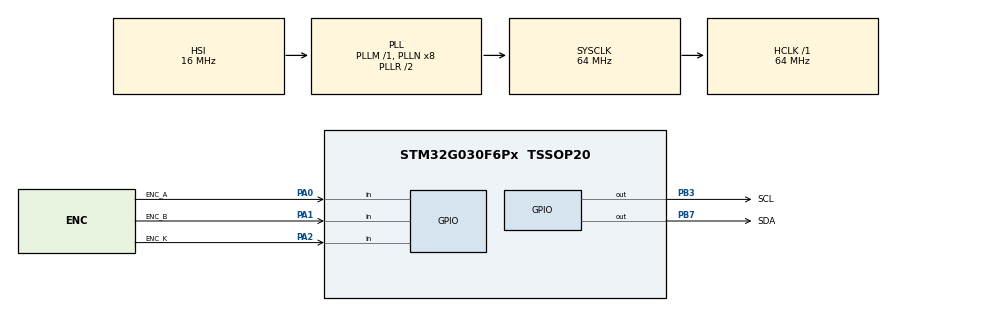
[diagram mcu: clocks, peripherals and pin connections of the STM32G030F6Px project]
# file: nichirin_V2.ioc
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Mcu.Family=STM32G0
Mcu.Name=STM32G030F6Px
Mcu.Package=TSSOP20
PA0.GPIO_Label=ENC_A
PA0.GPIO_Mode=GPIO_MODE_INPUT
PA0.GPIO_PuPd=GPIO_PULLUP
PA0.Signal=GPIO_Input
PA1.GPIO_Label=ENC_B
PA1.GPIO_Mode=GPIO_MODE_INPUT
PA1.GPIO_PuPd=GPIO_PULLUP
PA1.Signal=GPIO_Input
PA13.Mode=Serial_Wire
PA13.Signal=SYS_SWDIO
PA14-BOOT0.Mode=Serial_Wire
PA14-BOOT0.Signal=SYS_SWCLK
PA14-BOOT0__PA15.StandardMode=true
PA2.GPIO_Label=ENC_K
PA2.GPIO_Mode=GPIO_MODE_INPUT
PA2.GPIO_PuPd=GPIO_PULLUP
PA2.Signal=GPIO_Input
PB0__PB1__PB2__PA8.StandardMode=true
PB3.GPIO_Label=SCL
PB3.GPIO_ModeDefaultOutputPP=GPIO_MODE_OUTPUT_OD
PB3.GPIO_PuPd=GPIO_NOPULL
PB3.GPIO_Speed=GPIO_SPEED_FREQ_HIGH
PB3.Signal=GPIO_Output
PB3__PB4__PB5__PB6.StandardMode=true
PB7.GPIO_FM7=SYSCFG_FASTMODEPLUS_PB7
PB7.GPIO_Label=SDA
PB7.GPIO_ModeDefaultOutputPP=GPIO_MODE_OUTPUT_OD
PB7.GPIO_PuPd=GPIO_NOPULL
PB7.GPIO_Speed=GPIO_SPEED_FREQ_VERY_HIGH
PB7.Signal=GPIO_Output
PB7__PB8.StandardMode=true
PC14-OSC32_IN\ (PC14)__PB9.StandardMode=true
ProjectManager.HeapSize=0x200
ProjectManager.StackSize=0x400
ProjectManager.TargetToolchain=CMake
RCC.ADCFreq_Value=64000000
RCC.AHBFreq_Value=64000000
RCC.CortexFreq_Value=64000000
RCC.EXTERNAL_CLOCK_VALUE=12288000
RCC.HCLKFreq_Value=64000000
RCC.HSE_VALUE=8000000
RCC.HSI_VALUE=16000000
RCC.LSE_VALUE=32768
RCC.SYSCLKFreq_VALUE=64000000
RCC.SYSCLKSource=RCC_SYSCLKSOURCE_PLLCLK
RCC.VCOOutputFreq_Value=128000000
board=custom

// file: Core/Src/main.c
/* USER CODE BEGIN Header */
/**
  ******************************************************************************
  * @file           : main.c
  * @brief          : Main program body
  ******************************************************************************
  * @attention
  *
  * Copyright (c) 2026 STMicroelectronics.
  * All rights reserved.
  *
  * This software is licensed under terms that can be found in the LICENSE file
  * in the root directory of this software component.
  * If no LICENSE file comes with this software, it is provided AS-IS.
  *
  ******************************************************************************
  */
/* USER CODE END Header */
#include "main.h"

/* USER CODE BEGIN Includes */
#include "app/app.h"
#include "drivers/encoder.h"
#include "drivers/soft_i2c.h"
#include "drivers/tlc59116.h"
/* USER CODE END Includes */

void SystemClock_Config(void);
static void MX_GPIO_Init(void);

/* USER CODE BEGIN 0 */
/* Place user private functions or global variables here. */
/* USER CODE END 0 */

int main(void)
{

  /* USER CODE BEGIN 1 */
  /* Add early user initialization here. */
  /* USER CODE END 1 */

  /* MCU Configuration--------------------------------------------------------*/

  /* Reset of all peripherals, Initializes the Flash interface and the Systick. */
  HAL_Init();

  /* Configure the system clock */
  SystemClock_Config();

  /* Initialize all configured peripherals */
  MX_GPIO_Init();
  /* USER CODE BEGIN 2 */
  /* CubeMX pinout reminder: SCL=PB3, SDA=PB7 (software I2C). */

  soft_i2c_init();

  if (!TLC59116_InitSoft())
  {
    while (1)
    {
    }
  }

  (void)TLC59116_SetAllPWMMode();

  Encoder_Init(ENC_A_GPIO_Port, ENC_A_Pin,
               ENC_B_GPIO_Port, ENC_B_Pin,
               ENC_K_GPIO_Port, ENC_K_Pin);

  App_Init();

  /* USER CODE END 2 */

  /* Infinite loop */
  /* USER CODE BEGIN WHILE */
  {
    uint32_t last_ms = HAL_GetTick();
    uint32_t acc_10ms = 0U;

    while (1)
    {
    /* USER CODE END WHILE */

    /* USER CODE BEGIN 3 */
      uint32_t now = HAL_GetTick();
      uint32_t delta = now - last_ms;
      if (delta == 0U)
      {
        continue;
      }
      if (delta > 50U)
      {
        delta = 50U;
      }

      for (uint32_t step = 0U; step < delta; step++)
      {
        last_ms++;
        Encoder_1msTick();
        acc_10ms++;
        if (acc_10ms >= EFFECT_TICK_MS)
        {
          acc_10ms -= EFFECT_TICK_MS;
          Effect_Tick();
        }
      }
    }
  }
  /* USER CODE END 3 */
}

void SystemClock_Config(void)
{
  RCC_OscInitTypeDef RCC_OscInitStruct = {0};
  RCC_ClkInitTypeDef RCC_ClkInitStruct = {0};

  /** Configure the main internal regulator output voltage
  */
  HAL_PWREx_ControlVoltageScaling(PWR_REGULATOR_VOLTAGE_SCALE1);

  /** Initializes the RCC Oscillators according to the specified parameters
  * in the RCC_OscInitTypeDef structure.
  */
  RCC_OscInitStruct.OscillatorType = RCC_OSCILLATORTYPE_HSI;
  RCC_OscInitStruct.HSIState = RCC_HSI_ON;
  RCC_OscInitStruct.HSIDiv = RCC_HSI_DIV1;
  RCC_OscInitStruct.HSICalibrationValue = RCC_HSICALIBRATION_DEFAULT;
  RCC_OscInitStruct.PLL.PLLState = RCC_PLL_ON;
  RCC_OscInitStruct.PLL.PLLSource = RCC_PLLSOURCE_HSI;
  RCC_OscInitStruct.PLL.PLLM = RCC_PLLM_DIV1;
  RCC_OscInitStruct.PLL.PLLN = 8;
  RCC_OscInitStruct.PLL.PLLP = RCC_PLLP_DIV2;
  RCC_OscInitStruct.PLL.PLLR = RCC_PLLR_DIV2;
  if (HAL_RCC_OscConfig(&RCC_OscInitStruct) != HAL_OK)
  {
    Error_Handler();
  }

  /** Initializes the CPU, AHB and APB buses clocks
  */
  RCC_ClkInitStruct.ClockType = RCC_CLOCKTYPE_HCLK|RCC_CLOCKTYPE_SYSCLK
                              |RCC_CLOCKTYPE_PCLK1;
  RCC_ClkInitStruct.SYSCLKSource = RCC_SYSCLKSOURCE_PLLCLK;
  RCC_ClkInitStruct.AHBCLKDivider = RCC_SYSCLK_DIV1;
  RCC_ClkInitStruct.APB1CLKDivider = RCC_HCLK_DIV1;

  if (HAL_RCC_ClockConfig(&RCC_ClkInitStruct, FLASH_LATENCY_2) != HAL_OK)
  {
    Error_Handler();
  }
}

static void MX_GPIO_Init(void)
{
  GPIO_InitTypeDef GPIO_InitStruct = {0};

  /* GPIO Ports Clock Enable */
  __HAL_RCC_GPIOB_CLK_ENABLE();
  __HAL_RCC_GPIOA_CLK_ENABLE();

  /*Configure GPIO pin Output Level */
  HAL_GPIO_WritePin(GPIOB, SDA_Pin|SCL_Pin, GPIO_PIN_RESET);

  /*Configure GPIO pin : SDA_Pin */
  GPIO_InitStruct.Pin = SDA_Pin;
  GPIO_InitStruct.Mode = GPIO_MODE_OUTPUT_OD;
  GPIO_InitStruct.Pull = GPIO_NOPULL;
  GPIO_InitStruct.Speed = GPIO_SPEED_FREQ_VERY_HIGH;
  HAL_GPIO_Init(SDA_GPIO_Port, &GPIO_InitStruct);

  /*Configure GPIO pins : ENC_A_Pin ENC_B_Pin ENC_K_Pin */
  GPIO_InitStruct.Pin = ENC_A_Pin|ENC_B_Pin|ENC_K_Pin;
  GPIO_InitStruct.Mode = GPIO_MODE_INPUT;
  GPIO_InitStruct.Pull = GPIO_PULLUP;
  HAL_GPIO_Init(GPIOA, &GPIO_InitStruct);

  /*Configure GPIO pin : SCL_Pin */
  GPIO_InitStruct.Pin = SCL_Pin;
  GPIO_InitStruct.Mode = GPIO_MODE_OUTPUT_OD;
  GPIO_InitStruct.Pull = GPIO_NOPULL;
  GPIO_InitStruct.Speed = GPIO_SPEED_FREQ_HIGH;
  HAL_GPIO_Init(SCL_GPIO_Port, &GPIO_InitStruct);

  /**/
  __HAL_SYSCFG_FASTMODEPLUS_ENABLE(SYSCFG_FASTMODEPLUS_PB7);

}

void Error_Handler(void)
{
  __disable_irq();
  while (1)
  {
  }
}
